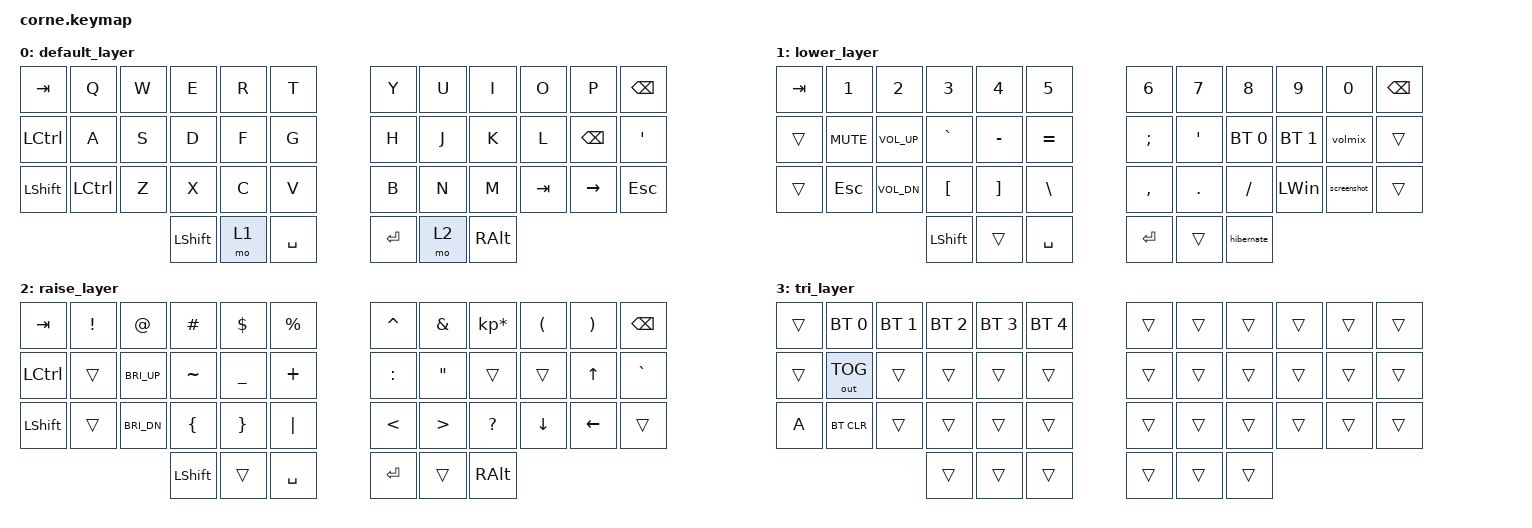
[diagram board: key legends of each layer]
/*
 * Copyright (c) 2020 The ZMK Contributors
 *
 * SPDX-License-Identifier: MIT
 */

#include <behaviors.dtsi>
#include <dt-bindings/zmk/keys.h>
#include <dt-bindings/zmk/bt.h>
#include <dt-bindings/zmk/outputs.h>
/ {

conditional_layers {
        compatible = "zmk,conditional-layers";
        tri_layer {
            if-layers = <1 2>;
            then-layer = <3>;
        };
    };

macros {
        screenshot: screenshot {
            compatible = "zmk,behavior-macro";
            #binding-cells = <0>;
            bindings
                = <&macro_press &kp LWIN &kp LSHFT>
                , <&macro_tap &kp S>
                , <&macro_release &kp LWIN &kp LSHFT>
                ;
        };

        hibernate: hibernate {
            compatible = "zmk,behavior-macro";
            #binding-cells = <0>;
            bindings
                = <&macro_press &kp LWIN>
                , <&macro_tap &kp X>
                , <&macro_release &kp LWIN>
                , <&macro_tap &kp U>
                , <&macro_tap &kp H>
                ;
        };

        volmix: volmix {
            compatible = "zmk,behavior-macro";
            #binding-cells = <0>;
            bindings
                = <&macro_press &kp LWIN &kp LCTRL>
                , <&macro_tap &kp V>
                , <&macro_release &kp LWIN &kp LCTRL>
                ;
        };
    };

        keymap {
                compatible = "zmk,keymap";

                default_layer {
// -----------------------------------------------------------------------------------------
// | NULL |  Q  |  W  |  E  |  R  |  T  |   |  Y  |  U   |  I  |  O  |  P  | NULL |
// | NULL |  A  |  S  |  D  |  F  |  G  |   |  H  |  J   |  K  |  L  | BKSP| NULL |
// | NULL | CTRL|  Z  |  X  |  C  |  V  |   |  B  |  N   |  M  | TAB |RIGHT| NULL  |
//                    | SHIFT | LWR | SPC |   | ENT | RSE  | ALT |
                        bindings = <
   &kp TAB   &kp Q &kp W &kp E &kp R &kp T   &kp Y &kp U  &kp I     &kp O   &kp P    &kp BSPC
   &kp LCTRL &kp A &kp S &kp D &kp F &kp G   &kp H &kp J  &kp K     &kp L   &kp BSPC &kp SQT
   &kp LSHFT &kp LCTRL &kp Z &kp X &kp C &kp V   &kp B &kp N  &kp M &kp TAB &kp RIGHT &kp ESC
                  &kp LSHFT &mo 1 &kp SPACE   &kp RET &mo 2 &kp RALT
                        >;
                };
                lower_layer {
// -----------------------------------------------------------------------------------------
// | NULL |  1  |  2  |  3  |  4  |  5  |   |  6  |  7  |  8  |  9  |  0  | NULL |
// | NULL | MUTE|VOLUP|  `  |  -  |  =  |   |  ;  |  '  |     |     |     | NULL |
// | NULL | ESC |VOLDO|  [  |  ]  |  \  |   |  ,  |  .  |  /  |     |     | NULL |
//                    | SHIFT | NULL | SPC |   | ENT | NULL  | ALT |
                        bindings = <
   &kp TAB    &kp N1       &kp N2       &kp N3       &kp N4       &kp N5         &kp N6   &kp N7   &kp N8 &kp N9    &kp N0 &kp BSPC
   &trans &kp C_MUTE &kp C_VOL_UP &kp GRAVE &kp MINUS &kp EQUAL &kp SEMI   &kp APOS &bt BT_SEL 0 &bt BT_SEL 1 &volmix &trans
   &trans  &kp ESC       &kp C_VOL_DN     &kp LBKT    &kp RBKT    &kp BSLH         &kp COMMA   &kp DOT   &kp SLASH &kp LWIN &screenshot &trans
                                    &kp LSHFT &trans &kp SPACE   &kp RET &trans &hibernate
                        >;
                };

                raise_layer {
// -----------------------------------------------------------------------------------------
// | NULL |  !  |  @  |  #  |  $  |  %  |   |  ^  |  &  |  *  |  (  |  )  | NULL |
// | NULL |   |UBRIGHT|  ~  |  _  |  +  |   |  :  |  "  |     |     | UP  | NULL |
// | NULL |   |LBRIGHT|  {  |  }  | "|" |   |  <  |  >  |  ?  |DOWN |LEFT | NULL |
//                     | SHIFT | NULL | SPC |   | ENT | NULL  | ALT |
                        bindings = <
   &kp  TAB  &kp EXCL &kp AT &kp HASH &kp DLLR &kp PRCNT   &kp CARET &kp AMPS  &kp KP_MULTIPLY &kp LPAR &kp RPAR &kp BSPC
   &kp LCTRL &trans   &kp C_BRI_UP &kp TILDE  &kp UNDER   &kp PLUS   &kp COLON  &kp DQT &trans &trans &kp UP &kp GRAVE
   &kp LSHFT &trans   &kp C_BRI_DN &kp LBRC   &kp RBRC   &kp PIPE      &kp LT &kp GT  &kp QMARK   &kp DOWN &kp LEFT &trans
                              &kp LSHFT &trans &kp SPACE   &kp RET &trans &kp RALT
                        >;
                };
                
                tri_layer {
                        bindings = <
                        &trans &bt BT_SEL 0 &bt BT_SEL 1 &bt BT_SEL 2 &bt BT_SEL 3 &bt BT_SEL 4  &trans &trans &trans &trans &trans &trans
                        &trans &out OUT_TOG &trans &trans &trans &trans                                &trans &trans &trans &trans &trans &trans
                        &kp A &bt BT_CLR &trans &trans &trans &trans                                &trans &trans &trans &trans &trans &trans
                                             &trans &trans &trans                                &trans &trans &trans
                         >;
                 };
        };
};
